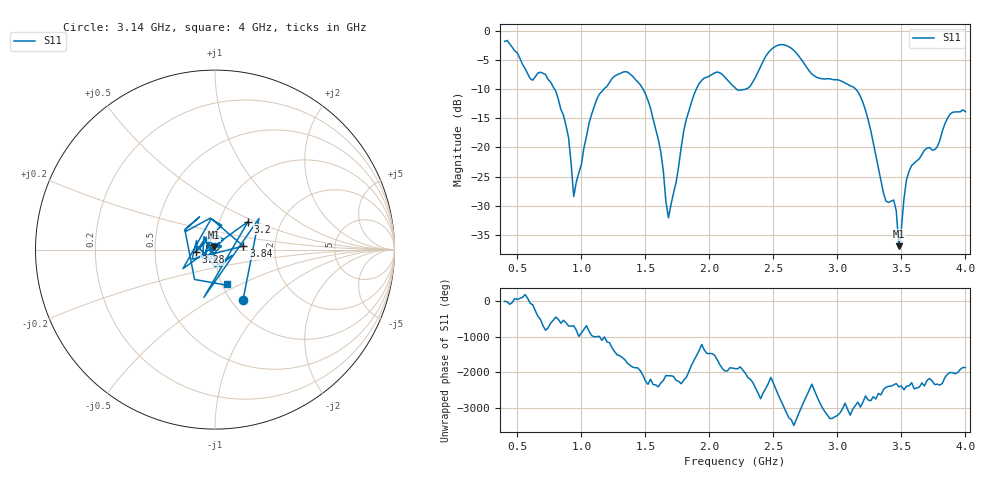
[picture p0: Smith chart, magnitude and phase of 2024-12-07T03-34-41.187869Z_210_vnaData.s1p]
!Created with skrf (http://scikit-rf.org).
# Hz S RI R 50.0
!freq ReS11 ImS11
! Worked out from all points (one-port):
!   181 points, 400 MHz to 4 GHz, reference 50 ohm
!   lowest |S11| = -36.9 dB at 3.48 GHz (marker M1), VSWR 1.03, Z = 49.5 + j1.34 ohm
!   |S11| at or under -10 dB: 789.7 MHz to 1.176 GHz (386.3 MHz wide, 39.3 % of centre); 1.481 GHz to 1.898 GHz (416.6 MHz wide, 24.7 % of centre); 3.143 GHz to end of sweep (the widest 3 of 4)
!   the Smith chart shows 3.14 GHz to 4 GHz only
!   S11 on the Smith chart (normalised r, x): 3.14 GHz: 1.14, -0.71; 3.2 GHz: 1.37, +0.45; 3.28 GHz: 0.80, -0.02; 3.84 GHz: 1.37, +0.06; 4 GHz: 1.05, -0.42
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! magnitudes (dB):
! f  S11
! 400 MHz  -1.8
! 600 MHz  -8.2
! 720 MHz  -7.5
! 860 MHz  -14.5
! 900 MHz  -18.4
! 940 MHz  -28.4
! 1.12 GHz  -11.8
! 1.3 GHz  -7.4
! 1.52 GHz  -12.0
! 1.62 GHz  -20.8
! 1.68 GHz  -32.1
! 1.76 GHz  -23.2
! 1.82 GHz  -15.2
! 1.92 GHz  -9.1
! 2.2 GHz  -9.8
! 2.32 GHz  -9.5
! 2.5 GHz  -2.9
! 2.66 GHz  -3.4
! 3.1 GHz  -9.4
! 3.14 GHz  -9.9
! 3.2 GHz  -12.3
! 3.28 GHz  -19.2
! 3.38 GHz  -29.2
! 3.44 GHz  -29.0
! 3.48 GHz  -36.9
! 3.56 GHz  -24.1
! 3.84 GHz  -16.0
! 4 GHz  -13.9
